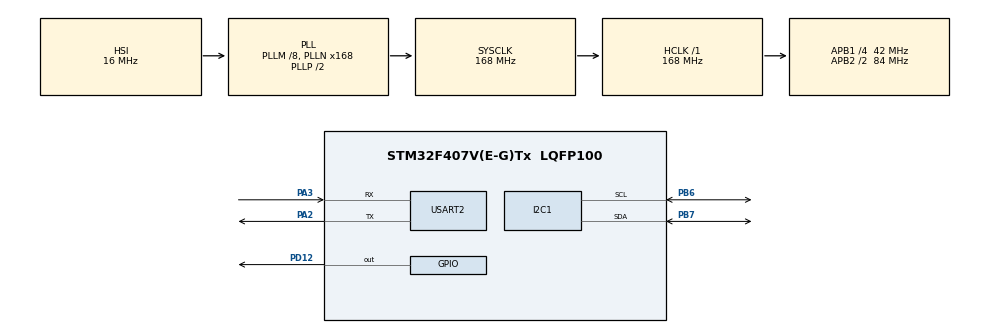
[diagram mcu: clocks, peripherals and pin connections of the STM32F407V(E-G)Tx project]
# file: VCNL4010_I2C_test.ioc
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I2C1.I2C_Mode=I2C_Fast
Mcu.Family=STM32F4
Mcu.Name=STM32F407V(E-G)Tx
Mcu.Package=LQFP100
NVIC.PriorityGroup=NVIC_PRIORITYGROUP_4
NVIC.USART2_IRQn=true\:0\:0\:false\:false\:true\:true\:true\:true
PA2.Mode=Asynchronous
PA2.Signal=USART2_TX
PA3.Mode=Asynchronous
PA3.Signal=USART2_RX
PB6.Mode=I2C
PB6.Signal=I2C1_SCL
PB7.Mode=I2C
PB7.Signal=I2C1_SDA
PD12.Signal=GPIO_Output
PH0-OSC_IN.Mode=HSE-External-Oscillator
PH0-OSC_IN.Signal=RCC_OSC_IN
PH1-OSC_OUT.Mode=HSE-External-Oscillator
PH1-OSC_OUT.Signal=RCC_OSC_OUT
ProjectManager.HeapSize=0x200
ProjectManager.StackSize=0x400
ProjectManager.TargetToolchain=MDK-ARM V5
RCC.48MHZClocksFreq_Value=84000000
RCC.AHBFreq_Value=168000000
RCC.APB1CLKDivider=RCC_HCLK_DIV4
RCC.APB1Freq_Value=42000000
RCC.APB1TimFreq_Value=84000000
RCC.APB2CLKDivider=RCC_HCLK_DIV2
RCC.APB2Freq_Value=84000000
RCC.APB2TimFreq_Value=168000000
RCC.CortexFreq_Value=168000000
RCC.HCLKFreq_Value=168000000
RCC.HSE_VALUE=8000000
RCC.HSI_VALUE=16000000
RCC.LSE_VALUE=32768
RCC.PLLM=8
RCC.PLLN=168
RCC.SYSCLKFreq_VALUE=168000000
RCC.SYSCLKSource=RCC_SYSCLKSOURCE_PLLCLK
RCC.VCOOutputFreq_Value=336000000
USART2.VirtualMode=VM_ASYNC
board=custom

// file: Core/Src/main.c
/* USER CODE BEGIN Header */
/**
  ******************************************************************************
  * @file           : main.c
  * @brief          : Main program body
  ******************************************************************************
  * @attention
  *
  * Copyright (c) 2023 STMicroelectronics.
  * All rights reserved.
  *
  * This software is licensed under terms that can be found in the LICENSE file
  * in the root directory of this software component.
  * If no LICENSE file comes with this software, it is provided AS-IS.
  *
  ******************************************************************************
  */
/* USER CODE END Header */
#include "main.h"

/* USER CODE BEGIN Includes */
#include "stdlib.h"
#include "stdio.h"
#include "stdarg.h"

#include "VCNL_4010.h"
/* USER CODE END Includes */

 I2C_HandleTypeDef hi2c1;

UART_HandleTypeDef huart2;

/* USER CODE BEGIN PV */
VCNL_Struct vcnl1 = {
  .VCNL_hi2c = &hi2c1
};
/* USER CODE END PV */

void SystemClock_Config(void);
static void MX_GPIO_Init(void);
static void MX_I2C1_Init(void);
static void MX_USART2_UART_Init(void);
/* USER CODE BEGIN PFP */
void printData(char* format, ...){
  char* str = malloc( 64 * sizeof(char) );
  va_list ap;
  va_start(ap, format);
  vsprintf(str, format, ap);
  HAL_UART_Transmit(&huart2, (uint8_t *)str, strlen(str), 100);
  va_end(ap);

  free(str);
}
/* USER CODE END PFP */

int main(void)
{

  /* MCU Configuration--------------------------------------------------------*/

  /* Reset of all peripherals, Initializes the Flash interface and the Systick. */
  HAL_Init();

  /* Configure the system clock */
  SystemClock_Config();

  /* Initialize all configured peripherals */
  MX_GPIO_Init();
  MX_I2C1_Init();
  MX_USART2_UART_Init();
  /* USER CODE BEGIN 2 */
  VCNL4010_Init_SET(&vcnl1);
  VCNL4010_R_PRODUCT(&vcnl1);
  // VCNL_SET_ONEread();

  printData("Version: %x\n", VCNL4010_R_PRODUCT(&vcnl1));
  printData("Prox Timing: %x\n", VCNL4010_R_Proximity_Timing(&vcnl1));
  printData("IRLED: %d\n", VCNL4010_R_IRLEDCurrent(&vcnl1));
  printData("INT Con: %x\n", VCNL4010_R_INT_Control(&vcnl1));
  printData("INT STA: %x\n", VCNL4010_R_INT_STATUS(&vcnl1));
  /* USER CODE END 2 */

  /* Infinite loop */
  /* USER CODE BEGIN WHILE */
  while (1)
  {

    printData("Ambient value: %d ", VCNL4010_R_RAWAmbient(&vcnl1));
    printData("Proximity value: %d\n", VCNL4010_R_RAWProximity(&vcnl1));
    HAL_Delay(10);
    /* USER CODE END WHILE */

  }
}

void SystemClock_Config(void)
{
  RCC_OscInitTypeDef RCC_OscInitStruct = {0};
  RCC_ClkInitTypeDef RCC_ClkInitStruct = {0};

  /** Configure the main internal regulator output voltage
  */
  __HAL_RCC_PWR_CLK_ENABLE();
  __HAL_PWR_VOLTAGESCALING_CONFIG(PWR_REGULATOR_VOLTAGE_SCALE1);

  /** Initializes the RCC Oscillators according to the specified parameters
  * in the RCC_OscInitTypeDef structure.
  */
  RCC_OscInitStruct.OscillatorType = RCC_OSCILLATORTYPE_HSI;
  RCC_OscInitStruct.HSIState = RCC_HSI_ON;
  RCC_OscInitStruct.HSICalibrationValue = RCC_HSICALIBRATION_DEFAULT;
  RCC_OscInitStruct.PLL.PLLState = RCC_PLL_ON;
  RCC_OscInitStruct.PLL.PLLSource = RCC_PLLSOURCE_HSI;
  RCC_OscInitStruct.PLL.PLLM = 8;
  RCC_OscInitStruct.PLL.PLLN = 168;
  RCC_OscInitStruct.PLL.PLLP = RCC_PLLP_DIV2;
  RCC_OscInitStruct.PLL.PLLQ = 4;
  if (HAL_RCC_OscConfig(&RCC_OscInitStruct) != HAL_OK)
  {
    Error_Handler();
  }

  /** Initializes the CPU, AHB and APB buses clocks
  */
  RCC_ClkInitStruct.ClockType = RCC_CLOCKTYPE_HCLK|RCC_CLOCKTYPE_SYSCLK
                              |RCC_CLOCKTYPE_PCLK1|RCC_CLOCKTYPE_PCLK2;
  RCC_ClkInitStruct.SYSCLKSource = RCC_SYSCLKSOURCE_PLLCLK;
  RCC_ClkInitStruct.AHBCLKDivider = RCC_SYSCLK_DIV1;
  RCC_ClkInitStruct.APB1CLKDivider = RCC_HCLK_DIV4;
  RCC_ClkInitStruct.APB2CLKDivider = RCC_HCLK_DIV2;

  if (HAL_RCC_ClockConfig(&RCC_ClkInitStruct, FLASH_LATENCY_5) != HAL_OK)
  {
    Error_Handler();
  }
}

static void MX_I2C1_Init(void)
{

  hi2c1.Instance = I2C1;
  hi2c1.Init.ClockSpeed = 400000;
  hi2c1.Init.DutyCycle = I2C_DUTYCYCLE_2;
  hi2c1.Init.OwnAddress1 = 0;
  hi2c1.Init.AddressingMode = I2C_ADDRESSINGMODE_7BIT;
  hi2c1.Init.DualAddressMode = I2C_DUALADDRESS_DISABLE;
  hi2c1.Init.OwnAddress2 = 0;
  hi2c1.Init.GeneralCallMode = I2C_GENERALCALL_DISABLE;
  hi2c1.Init.NoStretchMode = I2C_NOSTRETCH_DISABLE;
  if (HAL_I2C_Init(&hi2c1) != HAL_OK)
  {
    Error_Handler();
  }

}

static void MX_USART2_UART_Init(void)
{

  huart2.Instance = USART2;
  huart2.Init.BaudRate = 115200;
  huart2.Init.WordLength = UART_WORDLENGTH_8B;
  huart2.Init.StopBits = UART_STOPBITS_1;
  huart2.Init.Parity = UART_PARITY_NONE;
  huart2.Init.Mode = UART_MODE_TX_RX;
  huart2.Init.HwFlowCtl = UART_HWCONTROL_NONE;
  huart2.Init.OverSampling = UART_OVERSAMPLING_16;
  if (HAL_UART_Init(&huart2) != HAL_OK)
  {
    Error_Handler();
  }

}

static void MX_GPIO_Init(void)
{
  GPIO_InitTypeDef GPIO_InitStruct = {0};

  /* GPIO Ports Clock Enable */
  __HAL_RCC_GPIOH_CLK_ENABLE();
  __HAL_RCC_GPIOA_CLK_ENABLE();
  __HAL_RCC_GPIOD_CLK_ENABLE();
  __HAL_RCC_GPIOB_CLK_ENABLE();

  /*Configure GPIO pin Output Level */
  HAL_GPIO_WritePin(GPIOD, GPIO_PIN_12, GPIO_PIN_RESET);

  /*Configure GPIO pin : PD12 */
  GPIO_InitStruct.Pin = GPIO_PIN_12;
  GPIO_InitStruct.Mode = GPIO_MODE_OUTPUT_PP;
  GPIO_InitStruct.Pull = GPIO_NOPULL;
  GPIO_InitStruct.Speed = GPIO_SPEED_FREQ_LOW;
  HAL_GPIO_Init(GPIOD, &GPIO_InitStruct);

}

void Error_Handler(void)
{
  __disable_irq();
  while (1)
  {
  }
}
